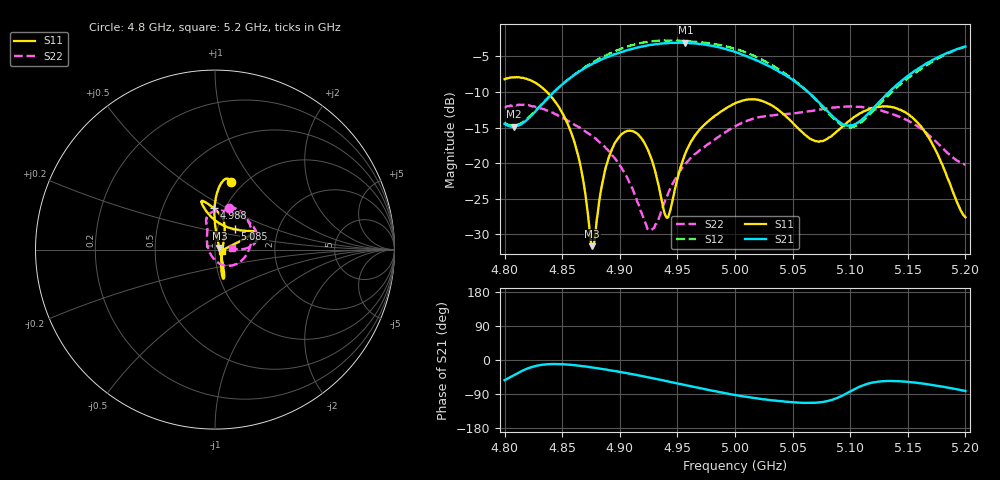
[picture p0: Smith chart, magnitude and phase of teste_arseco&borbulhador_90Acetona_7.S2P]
! Network Analyzer HP8722D
! Hewlett-Packard
! Data name: Linha & Wilkinson
! Saver's name: Rodrigo Anjos
! Comments: Teste da utilização de aquisição
! continua pelo VNA HP8722D
! Time and date: 17/4/2025 11:06
!  Frequency  S11  S21  S12  S22
# HZ  S  MA R 50
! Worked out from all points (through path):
!   401 points, 4.8 GHz to 5.2 GHz, reference 50 ohm
!   highest |S21| = -3.07 dB at 4.957 GHz (marker M1); lowest = -14.9 dB at 4.808 GHz (marker M2)
!   lowest |S11| = -31.7 dB at 4.876 GHz (marker M3), VSWR 1.05, Z = 52.5 + j1.03 ohm
!   |S11| at or under -10 dB: 4.837 GHz to end of sweep
!   |S22| runs from -29.4 to -11.8 dB; largest |S21 - S12| = 1.4
!   S11 on the Smith chart (normalised r, x): 4.8 GHz: 0.87, +0.78; 4.988 GHz: 0.89, +0.43; 5.085 GHz: 1.21, +0.28; 5.2 GHz: 1.08, -0.02
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4.8e9  0.3892 76.9  0.1888 -53.3  0.192 81.9  0.2464 71.6
4.808e9  0.4009 79.3  0.1801 -40.1  0.1833 93.9  0.2544 64.6
4.845e9  0.2626 89.9  0.3284 -10.6  0.3288 122.9  0.2201 21.2
4.858e9  0.1621 90.3  0.4028 -12.8  0.4041 122.6  0.1921 1.7
4.867e9  0.08601 84.2  0.4507 -16.0  0.4568 121.2  0.1736 -12.5
4.876e9  0.02609 22.0  0.4975 -19.8  0.507 119.0  0.1552 -26.7
4.888e9  0.09486 -62.6  0.5527 -25.2  0.57 114.9  0.127 -44.6
4.902e9  0.1609 -71.6  0.6054 -32.6  0.6411 109.1  0.09111 -66.2
4.914e9  0.1633 -74.7  0.6459 -39.0  0.6844 102.8  0.0579 -91.4
4.925e9  0.1207 -72.8  0.6733 -45.8  0.7132 96.2  0.0343 -141.1
4.934e9  0.06781 -57.9  0.688 -51.7  0.7265 90.5  0.04121 161.6
4.942e9  0.04165 3.2  0.6979 -56.8  0.727 85.4  0.06152 135.9
4.957e9  0.1176 62.7  0.7019 -66.2  0.7202 75.9  0.09916 116.6
4.988e9  0.2306 91.8  0.6458 -85.6  0.6736 55.9  0.1583 108.4
5e9  0.2631 100.1  0.6043 -92.5  0.6371 48.4  0.1814 105.5
5.029e9  0.2626 105.8  0.483 -105.2  0.5043 33.4  0.2156 88.7
5.067e9  0.1458 77.5  0.2987 -113.1  0.2956 27.8  0.2324 54.9
5.085e9  0.1583 45.7  0.2119 -104.5  0.2075 38.7  0.2459 37.8
5.104e9  0.2122 29.3  0.188 -76.5  0.1814 68.0  0.2499 23.0
5.134e9  0.2493 24.1  0.318 -55.2  0.3037 91.1  0.2248 9.2
5.164e9  0.1697 20.0  0.49 -62.5  0.4728 85.4  0.1686 1.8
5.2e9  0.04165 -13.8  0.6587 -81.6  0.6605 67.6  0.09761 5.9
